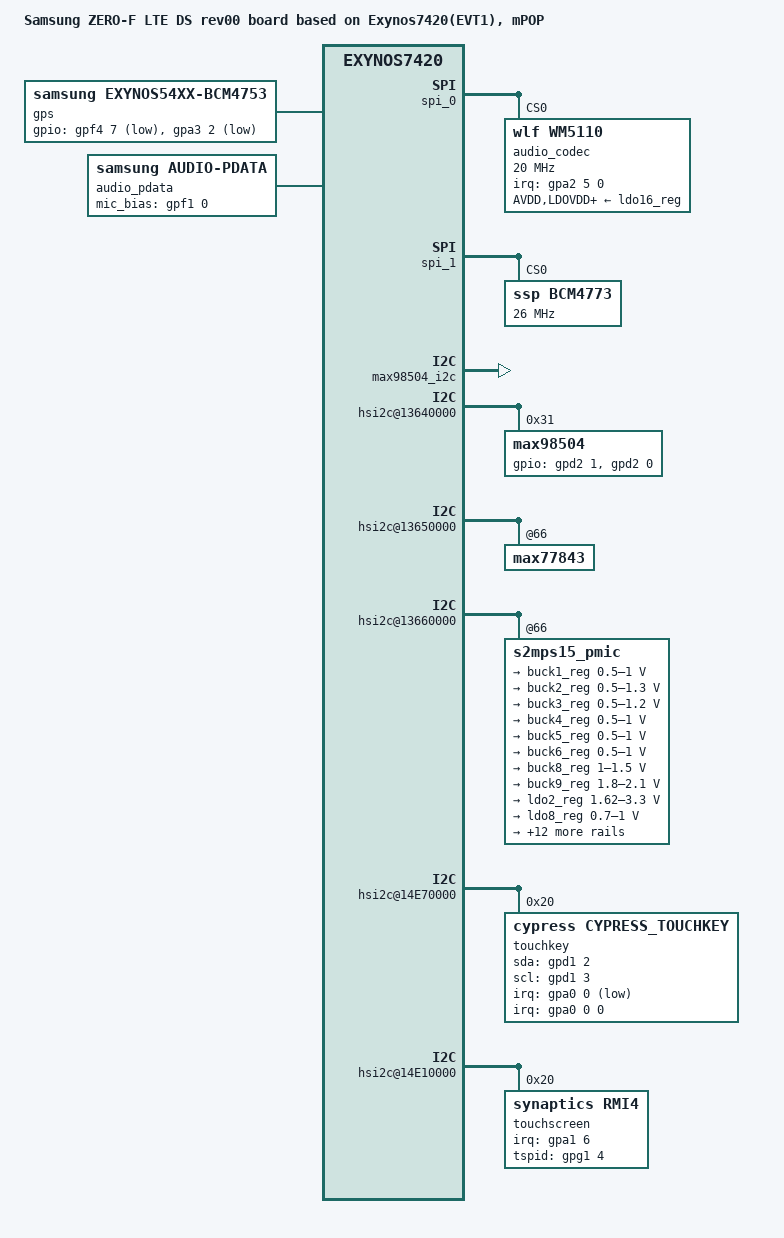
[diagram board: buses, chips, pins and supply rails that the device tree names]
/*
 * SAMSUNG UNIVERSAL7420 board device tree source
 *
 * Copyright (c) 2014 Samsung Electronics Co., Ltd.
 *		http://www.samsung.com
 *
 * This program is free software; you can redistribute it and/or modify
 * it under the terms of the GNU General Public License version 2 as
 * published by the Free Software Foundation.
*/

/dts-v1/;
#include "exynos7420-zero_common.dtsi"
#include "exynos7420-zeroflte_battery.dtsi"
#include "exynos7420-zeroflte_gpio_ds_00.dtsi"
#include "exynos7420-zerolte_modem-shannon_ds.dtsi"
#include "exynos7420-zerolte_fingerprint-sensor_00.dtsi"
#include "exynos7420-zeroflte_motor.dtsi"
#include "exynos7420-zeroflte_svcled.dtsi"
#include "exynos7420-zerolte_mst.dtsi"

/ {
	model = "Samsung ZERO-F LTE DS rev00 board based on Exynos7420(EVT1), mPOP";
	model_info-chip = <7420>;
	model_info-platform = "android";
	model_info-subtype = "samsung";
	model_info-hw_rev = <35>;
	model_info-hw_rev_end = <35>;
	compatible = "samsung,ZERO-F LTE DS EVT1 mPOP,r00", "samsung,exynos7420";

	spi_0: spi@14d20000 {
		/delete-property/ dma-mode;
		/delete-property/ dmas;
		/delete-property/ dma-names;

		num-cs = <1>;
		status = "okay";

		audio_codec: wm5110@0 {
			compatible = "wlf,wm5110";
			reg = <0x0>;
			spi-max-frequency = <20000000>;
			interrupts = <5 0 0>;
			interrupt-parent = <&gpa2>;

			gpio-controller;
			#gpio-cells = <2>;

			pinctrl-names ="default";
			pinctrl-0 = <&codec_reset &codec_ldoena &audio_ctrl &codec_irq>;

			wlf,reset = <&gpf4 0 0>;
			wlf,ldoena = <&gpf5 7 0>;
			wlf,init-mic-delay = <30>;
			wlf,micd-detect-debounce = <300>;
			wlf,micd-pol-gpio = <0>;
			wlf,micd-bias-start-time = <0x1>;
			wlf,micd-rate = <0x7>;
			wlf,micd-dbtime = <0x1>;
			wlf,micd-timeout = <1000>;
			wlf,micd-force-micbias;
			wlf,hpdet-moisture-imp = <2000>;
			wlf,hpdet-channel = <1>;
			wlf,hpdet-ext-res = <59>;
			wlf,hpdet-short-circuit-imp = <3>;
			wlf,micd-ranges = <
				116 226
				173 582
				321 115
				752 114
				1257 217
			>;

			wlf,micd-configs = <
				0x0 1 0
			>;

			wlf,micbias1 = <2800 0 1 0 0>;
			wlf,micbias2 = <1800 0 1 0 0>;
			wlf,micbias3 = <1800 0 1 0 0>;

			wlf,gpio-defaults = <
				0xA101
				0xA101
				0xA101
				0xA101
				0x8101
			>;

			wlf,gpsw = <0x3>;
			wlf,use-jd-gpio;
			wlf,jd-gpio-nopull;
			wlf,micd-software-compare;
			wlf,micd-open-circuit-declare = <1>;
			wlf,jd-wake-time = <5000>;

			wlf,max-channels-clocked = <2 0 0>;
			/* 0:MICVDD 1:MICBIAS1 2:MICBIAS2 3:MICBIAS3 */
			wlf,dmic-ref = <2 1 3 0>;
			/* 1st cell:IN1 2rd cell:IN2 3nd cell:IN3 4th cell:IN4 */
			wlf,inmode = <2 0 2 0>;
			/* 1st cell:OUT1 2nd cell:OUT2 3rd cell:OUT3... 6th cell:OUT6 */
			wlf,out-mono = <0 1 1 0 0 0>;

			wlf,rev-specific-fw;

			AVDD-supply = <&ldo16_reg>;
			LDOVDD-supply = <&ldo16_reg>;
			DBVDD1-supply = <&ldo16_reg>;

			CPVDD-supply = <&ldo16_reg>;
			DBVDD2-supply = <&ldo16_reg>;
			DBVDD3-supply = <&ldo16_reg>;
			SPKVDDL-supply = <&ldo16_reg>;
			SPKVDDR-supply = <&ldo16_reg>;

			adsps {
				#address-cells = <1>;
				#size-cells = <0>;

				adsp@1100 {
					reg = <0x1100>;
					firmware {
						EDAC {
							wlf,wmfw-file = "edac";
							wlf,bin-file = "edac";
						};
						TRACE {
							wlf,wmfw-file = "trace";
							wlf,bin-file = "None";
							wlf,compr-caps = <1 8 0x4 1 8000 16000 24000>;
						};
					};
				};
				adsp@1200 {
					reg = <0x1200>;
					firmware {
						TX_NB {
							wlf,wmfw-file = "tx-nb";
							wlf,bin-file = "None";
						};
						TX_WB {
							wlf,wmfw-file = "tx-wb";
							wlf,bin-file = "None";
						};
						TX_SWB_INTERVIEW {
							wlf,wmfw-file = "tx-swb";
							wlf,bin-file = "None";
						};
						TX_SWB_CONVERSATION {
							wlf,wmfw-file = "tx-swb";
							wlf,bin-file = "None";
						};
						TX_FB_MEETING {
							wlf,wmfw-file = "tx-fb-meeting";
							wlf,bin-file = "tx-fb-meeting";
						};
					};
				};
				adsp@1300 {
					reg = <0x1300>;
					firmware {
						TX_NB {
							wlf,wmfw-file = "tx-nb";
							wlf,bin-file = "tx-nb";
						};
						TX_WB {
							wlf,wmfw-file = "tx-wb";
							wlf,bin-file = "tx-wb";
						};
						TX_SWB_INTERVIEW {
							wlf,wmfw-file = "tx-swb";
							wlf,bin-file = "tx-swb-interview";
						};
						TX_SWB_CONVERSATION {
							wlf,wmfw-file = "tx-swb";
							wlf,bin-file = "tx-swb-conversation";
						};
						TX_WB_MEETING {
							wlf,wmfw-file = "tx-wb-meeting";
							wlf,bin-file = "tx-wb-meeting";
						};

						VOICECONTROL {
							wlf,wmfw-file = "ez2-control";
							wlf,bin-file = "ez2-control";
							wlf,compr-caps = <1 1 0x4 1 16000>;
						};
						LPSD {
							wlf,wmfw-file = "ez2-control";
							wlf,bin-file = "lpsd-control";
						};
					};
				};
				adsp@1400 {
					reg = <0x1400>;
					firmware {
						DSM {
							wlf,wmfw-file = "dsm";
							wlf,bin-file = "None";
						};
						RX_NB {
							wlf,wmfw-file = "rx-anc-nb";
							wlf,bin-file = "rx-anc-nb";
						};
						RX_WB {
							wlf,wmfw-file = "rx-anc-wb";
							wlf,bin-file = "rx-anc-wb";
						};
					};
				};
			};
			controller-data {
				cs-gpio = <&gpd8 1 0>;
				samsung,spi-feedback-delay = <0>;
			};
		};
	};

	spi_1: spi@14d30000 {
		#address-cells = <1>;
		#size-cells = <0>;

		pinctrl-names = "default";
		pinctrl-0 = <&spi1_mosi_sck_ssn &spi1_miso>;

		num-cs = <1>;
		status = "okay";

		BCM4773@0 {
			compatible = "ssp,BCM4773";
			reg = <0>;
			spi-max-frequency = <26000000>;
			spi-cpol;
			spi-cpha;
			pinctrl-names = "default";
			pinctrl-0 = <&ssp_host_req &ssp_mcu_req &ssp_mcu_resp>;

			gpio-controller;
			#gpio-cells = <2>;
			ssp-host-req = <&gpa3 6 0x01>;
			ssp-mcu-req = <&gpf4 5 0x01>;
			ssp-mcu-resp = <&gpf4 4 0x00>;
			ssp-acc-position = <0>;
			ssp-mag-position = <0>;
			ssp-sns-combination = <0>;
			ssp,prox-hi_thresh = <2000>;
			ssp,prox-low_thresh = <1400>;
			ssp-ap-rev = <1>;
			ssp-mag-array = <10227 (-404) 215 (-666) 8429 (-61) 853 (-1154) 11138>; /* Only for YAS532 */
			ssp-glass-type = <0>;

			controller-data {
				cs-gpio = <&gpd6 3 0>;
				samsung,spi-feedback-delay = <0>;
				};
			};
	};

	gps {
		compatible = "samsung,exynos54xx-bcm4753";

		pinctrl-names = "default";
		pinctrl-0 = <&ssp_gps_pwr_en &ssp_host_wake>;

		gpios = <&gpf4 7 0x1
			      &gpa3 2 0xf
				>;
		status = "okay";
	};

	sound {
		samsung,audio-routing =
				"HDMIL", "AIF1RX1",
				"HDMIR", "AIF1RX2",
				"HDMI", "HDMIL",
				"HDMI", "HDMIR",
				"HP", "HPOUT1L",
				"HP", "HPOUT1R",
				"SPK", "HPOUT2L",
				"SPK", "HPOUT2R",
				"VPS", "HPOUT2L",
				"VPS", "HPOUT2R",
				"RCV", "HPOUT3L",
				"RCV", "HPOUT3R",
				"IN1R", "Main Mic",
				"Main Mic", "MICBIAS2",
				"Headset Mic", "MICBIAS1",
				"IN2R", "Headset Mic",
				"Sub Mic", "MICBIAS3",
				"IN3L", "Sub Mic",
				"Third Mic", "MICBIAS2",
				"Third Mic", "MICBIAS3",
				"IN3R", "Third Mic",
				"VI SENSING", "MICVDD",
				"IN4R", "VI SENSING",
				"IN4L", "VI SENSING";

		mixer-paths = "mixer_paths_florida.xml";
	};

	audio_pdata {
		compatible = "samsung,audio-pdata";

		mic_bias_gpio = <&gpf1 0 0>;
		seamless_voicewakeup;
		status = "okay";
	};

	pinctrl@10580000 {
		codec_irq: codec-irq {
			samsung,pins = "gpa2-5";
			samsung,pin-function = <0xf>;
			samsung,pin-pud = <0>;
		};
		max98504_ctrl: max98504-ctl {
			samsung,pins ="gpa2-0";
			samsung,pin-function = <0>;
			samsung,pin-pud = <0>;
			samsung,pin-con-pdn =<2>;
			samsung,pin-pud-pdn = <0>;
		};
	};

	pinctrl@13470000 {
		max98504_i2c: max98504-i2c {
			samsung,pins = "gpd2-0", "gpd2-1";
			samsung,pin-pud = <0>;
			status = "okay";
		};
	};

	pinctrl@14870000 {
		audio_ctrl: audio-ctl {
			samsung,pins ="gpf1-0";
			samsung,pin-con-pdn =<3>;
		};
		codec_reset: codec-reset {
			samsung,pins ="gpf4-0";
			samsung,pin-function = <1>;
			samsung,pin-pud = <1>;
			samsung,pin-con-pdn =<3>;
			samsung,pin-pud-pdn = <1>;
			samsung,pin-val = <0>;
		};
		codec_ldoena: codec-ldoena {
			samsung,pins ="gpf5-7";
			samsung,pin-function = <1>;
			samsung,pin-pud = <1>;
			samsung,pin-con-pdn =<3>;
			samsung,pin-pud-pdn = <1>;
			samsung,pin-val = <1>;
		};
	};

	hsi2c@13640000 {
		status = "okay";
		max98504@31 {
			compatible = "max98504";
			reg = <0x31>;
			pinctrl-names = "default";
			pinctrl-0 = <&max98504_i2c &max98504_ctrl>;
			gpios = <&gpd2 1 0
				&gpd2 0 0
				>;
			i2c-gpio,delay-us = <2>;
			max98504,rx_mode = <1>;
			max98504,tx_mode = <1>;
			max98504,cfg_data = <0 0 0 0 0 3 0 2 0 0>;
		};
	};

	hsi2c@13650000{
		max77833@66 {
			status = "disabled";
		};

		max77843@66 {
			status = "okay";
		};
	};

	hsi2c@13660000 {
		s2mps15_pmic@66 {
			regulators {
				buck1_reg: BUCK1 {
					regulator-name = "vdd_mif";
					regulator-min-microvolt = <500000>;
					regulator-max-microvolt = <1000000>;
					regulator-always-on;
					regulator-boot-on;
					regulator-ramp-delay = <12000>;
					regulator-initial-mode = <1>;
				};

				buck2_reg: BUCK2 {
					regulator-name = "vdd_atlas";
					regulator-min-microvolt = <500000>;
					regulator-max-microvolt = <1300000>;
					regulator-always-on;
					regulator-boot-on;
					regulator-ramp-delay = <12000>;
					regulator-initial-mode = <1>;
				};

				buck3_reg: BUCK3 {
					regulator-name = "vdd_apollo";
					regulator-min-microvolt = <500000>;
					regulator-max-microvolt = <1200000>;
					regulator-always-on;
					regulator-boot-on;
					regulator-ramp-delay = <12000>;
					regulator-initial-mode = <1>;
				};

				buck4_reg: BUCK4 {
					regulator-name = "vdd_int";
					regulator-min-microvolt = <500000>;
					regulator-max-microvolt = <1000000>;
					regulator-always-on;
					regulator-boot-on;
					regulator-ramp-delay = <12000>;
					regulator-initial-mode = <1>;
				};

				buck5_reg: BUCK5 {
					regulator-name = "vdd_disp_cam0";
					regulator-min-microvolt = <500000>;
					regulator-max-microvolt = <1000000>;
					regulator-always-on;
					regulator-boot-on;
					regulator-ramp-delay = <12000>;
					regulator-initial-mode = <1>;
				};

				buck6_reg: BUCK6 {
					regulator-name = "vdd_g3d";
					regulator-min-microvolt = <500000>;
					regulator-max-microvolt = <1000000>;
					regulator-always-on;
					regulator-boot-on;
					regulator-ramp-delay = <12000>;
					regulator-initial-mode = <1>;
				};

				buck8_reg: BUCK8 {
					regulator-name = "vdd_lldo";
					regulator-min-microvolt = <1000000>;
					regulator-max-microvolt = <1500000>;
					regulator-always-on;
					regulator-ramp-delay = <12000>;
					regulator-initial-mode = <3>;
				};

				buck9_reg: BUCK9 {
					regulator-name = "vdd_mldo";
					regulator-min-microvolt = <1800000>;
					regulator-max-microvolt = <2100000>;
					regulator-always-on;
					regulator-ramp-delay = <12000>;
					regulator-initial-mode = <3>;
				};

				ldo2_reg: LDO2 {
					regulator-name = "vqmmc";
					regulator-min-microvolt = <1620000>;
					regulator-max-microvolt = <3300000>;
					regulator-ramp-delay = <12000>;
					regulator-initial-mode = <1>;
					regulator-boot-on;
				};

				ldo8_reg: LDO8 {
					regulator-name = "vdd_ldo8";
					regulator-min-microvolt = <700000>;
					regulator-max-microvolt = <1000000>;
					regulator-always-on;
					regulator-initial-mode = <1>;
				};

				ldo15_reg: LDO15 {
					regulator-name = "VF_1.8V";
					regulator-min-microvolt = <1800000>;
					regulator-max-microvolt = <1800000>;
				};

				ldo16_reg: LDO16 {
					regulator-name = "VCC_1.8V_CODEC_PMIC";
					regulator-min-microvolt = <1800000>;
					regulator-max-microvolt = <1800000>;
				};

				ldo17_reg: LDO17 {
					regulator-name = "VCC_MOTOR_3.0";
					regulator-min-microvolt = <3000000>;
					regulator-max-microvolt = <3000000>;
				};

				ldo18_reg: LDO18 {
					regulator-name = "HRM_VDD_1.8V";
					regulator-min-microvolt = <1800000>;
					regulator-max-microvolt = <1850000>;
				};

				ldo19_reg: LDO19 {
					regulator-name = "MST_LEVEL_3.0V";
					regulator-min-microvolt = <3000000>;
					regulator-max-microvolt = <3000000>;
				};

				ldo20_reg: LDO20 {
					regulator-name = "VCC_1.8V_MHL";
					regulator-min-microvolt = <1800000>;
					regulator-max-microvolt = <1800000>;
				};

				ldo21_reg: LDO21 {
					regulator-name = "vtouch_3.3v";
					regulator-min-microvolt = <3300000>;
					regulator-max-microvolt = <3300000>;
					regulator-boot-on;
				};

				ldo22_reg: LDO22 {
					regulator-name = "VDD22_1P2_AP";
					regulator-min-microvolt = <1200000>;
					regulator-max-microvolt = <1200000>;
				};

				ldo23_reg: LDO23 {
					regulator-name = "VDD_1.8V_ESE";
					regulator-min-microvolt = <1800000>;
					regulator-max-microvolt = <1800000>;
				};

				ldo24_reg: LDO24 {
					regulator-name = "V_HRM_3.3V";
					regulator-min-microvolt = <3300000>;
					regulator-max-microvolt = <3350000>;
					regulator-initial-mode = <1>;
				};

				ldo25_reg: LDO25 {
					regulator-name = "PROX_LED_3.3V";
					regulator-min-microvolt = <3300000>;
					regulator-max-microvolt = <3300000>;
					regulator-boot-on;
					regulator-always-on;
					regulator-initial-mode = <3>;
				};

				ldo26_reg: LDO26 {
					regulator-name = "VSIL_1.0V";
					regulator-min-microvolt = <1000000>;
					regulator-max-microvolt = <1000000>;
				};
			};
		};
	};

	pinctrl@13470000 {
		/* touchkey i2c*/
		cfg_i2c: cfg-i2c {
			samsung,pins = "gpd1-3", "gpd1-2";
			samsung,pin-function = <3>;
			samsung,pin-pud = <0>;
			samsung,pin-drv = <0>;
		};
		cfg_gpio: cfg_gpio {
			samsung,pins = "gpd1-3", "gpd1-2";
			samsung,pin-function = <0>;
			samsung,pin-pud = <0>;
			samsung,pin-drv = <0>;
		};
	};

	pinctrl@10580000 {
		/* touchkey interrupt*/
		cfg_irq: cfg-irq {
			samsung,pins = "gpa0-0";
			samsung,pin-function = <0xf>;
			samsung,pin-pud = <0>;
			samsung,pin-drv = <0>;
		};
		cfg_input: cfg-input {
			samsung,pins = "gpa0-0";
			samsung,pin-function = <0>;
			samsung,pin-pud = <1>;
			samsung,pin-drv = <0>;
		};
	};

	hsi2c@14E70000 {
		status = "okay";
		pinctrl-names = "default","on_i2c","off_i2c";
		pinctrl-0 = <&hs_i2c3_bus>;
		pinctrl-1 = <&cfg_i2c>;
		pinctrl-2 = <&cfg_gpio>;
		touchkey@20 {
			pinctrl-names = "on_irq","off_irq";
			pinctrl-0 = <&cfg_irq>;
			pinctrl-1 = <&cfg_input>;
			compatible = "cypress,cypress_touchkey";
			reg = <0x20>;
			interrupts = <0 0 0>;
			interrupt-parent = <&gpa0>;
			cypress,sda-gpio = <&gpd1 2 0>;
			cypress,scl-gpio = <&gpd1 3 0>;
			cypress,irq-gpio = <&gpa0 0 1>;
			cypress,ap-io-power = "true";
			cypress,ic-stabilizing-time = <50>;
			cypress,boot-on-ldo = "true";
			cypress,fw_path = "cypress/cypress_k.fw";
		};
	};

	hsi2c@14E10000 {
		touchscreen@20 {
			compatible = "synaptics,rmi4";
			reg = <0x20>;
			pinctrl-names = "on_state", "off_state";
			pinctrl-0 = <&attn_irq>;
			pinctrl-1 = <&attn_input>;
			synaptics,irq_gpio = <&gpa1 6 0>;
			synaptics,irq_type = <8200>;
			synaptics,max_coords = <1439 2559>;	/* x y */
			synaptics,num_lines = <28 16>;		/* rx tx */
			synaptics,regulator_dvdd = "tsp_io";
			synaptics,regulator_avdd = "tsp_avdd";
			synaptics,project_name = "ZEROF", "E3";
			synaptics,tspid_gpio = <&gpg1 4 0>;
		};
	};

	dwmmc0@15740000 {
		status = "disabled";
	};

	dwmmc2@15560000 {
		vdd_vmmc-supply = <&ldo25_reg>;
		vqmmc-supply = <&ldo2_reg>;
	};

	dsim_0: dsim@0x13900000 {
		gpios = <&gpr3 0 0x1>;
		regulator_30V = "VCC_3.0V_LCD";
		regulator_18V = "VCC_DISPLAY_1.8V";
		lcd_info = <&s6e3ha0_wqhd>;
	};

	s6e3ha0_wqhd: s6e3ha0_wqhd_panel {
		mode = <2>;
		resolution = <1440 2560>;
		size = <63 112>;
		timing,refresh = <60>;
		timing,h-porch = <1 1 1>;
		timing,v-porch = <15 1 1>;
		timing,dsi-hs-clk = <1026>;
		timing,dsi-escape-clk = <20>;
		mic = <1>;
		mic_ver = <2>;
		type_of_ddi = <0>;
	};

	simslot_count {
		status = "okay";
	};
};
